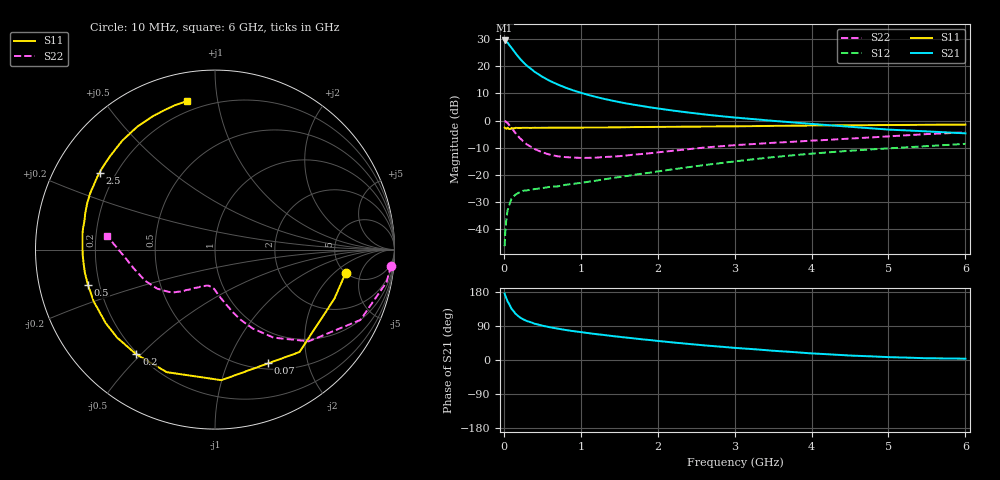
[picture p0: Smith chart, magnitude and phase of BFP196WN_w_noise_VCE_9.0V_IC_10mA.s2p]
! Infineon Technologies  Discrete & RF Semiconductors
! BFP196WN
! VCE =  9.0 V,  IC =  10 mA
! Common Emitter S-Parameters:  Jan 2017
# GHz  S  MA  R  50
!  f  S11  S21  S12  S22
! GHz  MAG  ANG  MAG  ANG  MAG  ANG  MAG  ANG
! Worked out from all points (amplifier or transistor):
!   77 points, 10 MHz to 6 GHz, reference 50 ohm
!   highest |S21| = 29.6 dB at 10 MHz (marker M1)
!   |S21| within 3 dB of that: start of sweep to 107.6 MHz
!   unconditionally stable (mu >= 1): 1.165 GHz to 2.595 GHz
!   at 130 MHz: K = 0.19, MSG = 26.8 dB, |S12| = -28.0 dB
!   at 2.2 GHz: K = 1.05, MAG = 9.4 dB, |S12| = -18.0 dB
!   at 6 GHz: K = 0.86, MSG = 1.9 dB, |S12| = -8.6 dB
!   lowest NFmin = 0.92 dB at 450 MHz
!   S11 on the Smith chart (normalised r, x): 10 MHz: 5.02, -2.85; 70 MHz: 0.57, -1.41; 200 MHz: 0.19, -0.48; 500 MHz: 0.16, -0.13; 2.5 GHz: 0.14, +0.30; 6 GHz: 0.14, +0.82
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0.01  0.7399 -10.0  30.05 175.4  0.0048 86.7  0.9854 -5.2
0.02  0.7192 -22.4  29.04 169.1  0.0095 80.8  0.9727 -10.8
0.05  0.7399 -50.5  27.27 154.1  0.0223 67.1  0.9001 -25.8
0.07  0.6996 -64.9  24.84 147.4  0.0275 59.2  0.8222 -32.3
0.1  0.7284 -87.2  21.99 135.0  0.036 51.9  0.7303 -44.4
0.15  0.7338 -111.5  17.64 122.4  0.0428 42.3  0.5887 -56.4
0.2  0.7299 -126.9  14.33 113.7  0.0469 37.7  0.4868 -64.5
0.25  0.7333 -137.9  12 107.4  0.0505 35.1  0.4165 -69.9
0.3  0.7339 -146.0  10.26 102.8  0.0515 33.4  0.3621 -74.1
0.4  0.7348 -156.8  7.922 95.7  0.0543 33.0  0.2976 -80.1
0.5  0.7349 -164.3  6.413 90.6  0.0567 33.8  0.2585 -85.0
0.6  0.7364 -169.8  5.382 86.4  0.0597 35.9  0.2338 -88.6
0.7  0.7363 -174.2  4.624 82.8  0.061 37.9  0.2186 -91.4
0.9  0.7385 178.6  3.607 76.3  0.0679 42.2  0.2077 -97.0
1.1  0.7437 173.2  2.964 70.9  0.0742 46.7  0.2048 -101.8
1.5  0.7506 164.5  2.189 61.2  0.0904 53.0  0.2201 -111.3
2.1  0.7642 153.3  1.597 48.4  0.1204 58.4  0.2675 -123.4
2.5  0.7725 146.4  1.352 40.6  0.144 59.7  0.306 -130.1
3.1  0.7845 136.7  1.106 30.6  0.1828 58.9  0.3579 -139.7
4.1  0.811 120.9  0.846 16.4  0.251 53.3  0.4317 -158.1
5.1  0.8276 109.2  0.67 7.0  0.3123 45.7  0.52 -177.6
6  0.8429 100.5  0.58 3.5  0.3711 38.8  0.6037 172.8
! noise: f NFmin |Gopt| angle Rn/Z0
0.45  0.92  0.37  146  0.05
0.9  1.09  0.52  167  0.05
1.9  2.29  0.71  206  0.13
2.4  3.04  0.72  213  0.24
